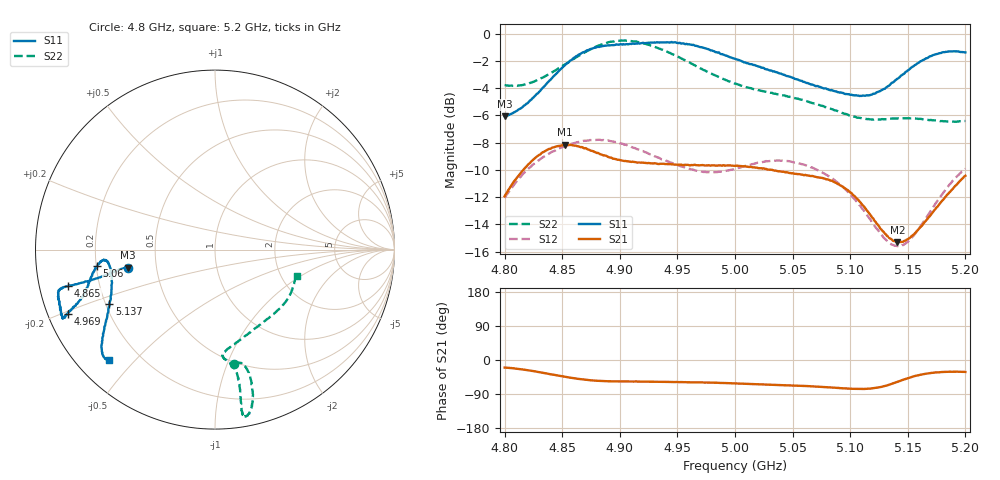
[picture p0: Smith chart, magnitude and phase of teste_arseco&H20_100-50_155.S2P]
! Network Analyzer HP8722D
! Hewlett-Packard
! Data name: Linha & Wilkinson
! Saver's name: Rodrigo Anjos
! Comments: Teste da utilização de aquisição
! continua pelo VNA HP8722D
! Time and date: 6/5/2025 13:51
!  Frequency  S11  S21  S12  S22
# HZ  S  MA R 50
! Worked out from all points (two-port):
!   401 points, 4.8 GHz to 5.2 GHz, reference 50 ohm
!   highest |S21| = -8.15 dB at 4.852 GHz (marker M1); lowest = -15.3 dB at 5.141 GHz (marker M2)
!   |S21| within 3 dB of the highest: 4.806 GHz to 5.092 GHz (286.2 MHz wide, 5.78 % of centre); 5.19151 GHz to end of sweep
!   lowest |S11| = -6.1 dB at 4.8 GHz (marker M3), VSWR 2.98, Z = 16.9 - j4.54 ohm
!   |S11| at or under -10 dB: nowhere
!   |S22| runs from -6.5 to -0.5 dB; largest |S21 - S12| = 0.62
!   S11 on the Smith chart (normalised r, x): 4.8 GHz: 0.34, -0.09; 4.865 GHz: 0.09, -0.12; 4.969 GHz: 0.06, -0.21; 5.06 GHz: 0.20, -0.07; 5.137 GHz: 0.21, -0.23; 5.2 GHz: 0.09, -0.42
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4.8e9  0.4977 -168.3  0.253 -20.0  0.2494 -141.1  0.6482 -80.4
4.826e9  0.5895 -167.4  0.3481 -30.0  0.3338 -144.8  0.6685 -75.7
4.852e9  0.7645 -166.0  0.3911 -44.1  0.3864 -149.6  0.7696 -74.6
4.865e9  0.8405 -166.2  0.3845 -50.2  0.4011 -152.0  0.8333 -75.3
4.867e9  0.8495 -166.0  0.3836 -51.1  0.4026 -152.2  0.843 -75.5
4.879e9  0.8897 -165.7  0.3668 -54.6  0.4074 -154.2  0.8953 -76.7
4.9e9  0.9136 -162.8  0.3436 -56.4  0.396 -156.7  0.9424 -79.3
4.934e9  0.9286 -156.6  0.3323 -57.5  0.3503 -155.8  0.8824 -80.5
4.969e9  0.8958 -156.5  0.3286 -59.1  0.3123 -147.5  0.751 -79.7
5e9  0.8095 -159.2  0.3272 -61.9  0.3196 -137.3  0.6557 -81.3
5.039e9  0.7141 -166.7  0.3125 -66.3  0.3419 -134.7  0.5979 -85.9
5.06e9  0.6654 -171.9  0.3021 -68.5  0.3304 -136.2  0.5686 -84.2
5.067e9  0.6512 -173.1  0.3005 -69.2  0.3228 -136.9  0.5564 -82.5
5.086e9  0.6159 -174.6  0.2855 -73.0  0.2906 -138.7  0.5241 -75.2
5.101e9  0.5976 -172.1  0.2603 -75.9  0.2547 -138.9  0.4991 -66.4
5.117e9  0.5947 -165.0  0.2173 -75.5  0.2086 -135.0  0.4851 -55.1
5.134e9  0.646 -154.2  0.1777 -65.0  0.1705 -120.6  0.4871 -43.3
5.137e9  0.6621 -152.6  0.1739 -62.1  0.1677 -116.7  0.4889 -41.5
5.141e9  0.6839 -150.4  0.1716 -57.6  0.1659 -111.5  0.488 -39.0
5.153e9  0.7512 -145.2  0.1801 -45.2  0.1772 -96.0  0.489 -32.8
5.172e9  0.8352 -139.2  0.2218 -33.7  0.2305 -81.2  0.4812 -24.6
5.2e9  0.8543 -133.8  0.301 -31.6  0.3192 -77.2  0.4781 -17.6
